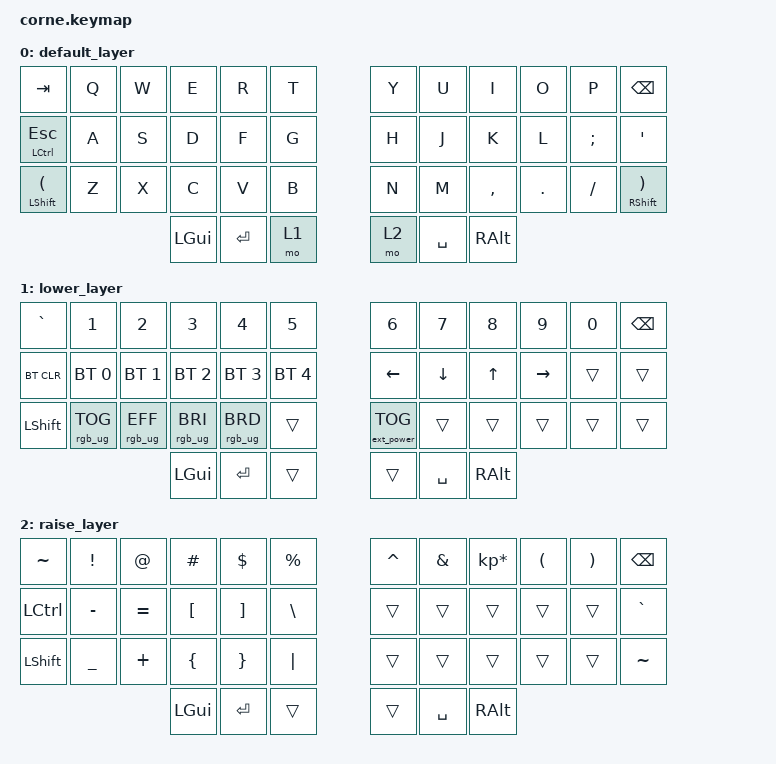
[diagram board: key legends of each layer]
/*
 * Copyright (c) 2020 The ZMK Contributors
 *
 * SPDX-License-Identifier: MIT
 */

#include <behaviors.dtsi>
#include <dt-bindings/zmk/keys.h>
#include <dt-bindings/zmk/bt.h>
#include <dt-bindings/zmk/rgb.h>
#include <dt-bindings/zmk/ext_power.h>

/*
 * Temporarily here because nice nano v2 spi is not defined on ZMk Yet
 * Source: https://raw.githubusercontent.com/zmkfirmware/zmk/main/app/boards/shields/corne/boards/nice_nano.overlay
 * GitHub Issue: https://github.com/zmkfirmware/zmk/issues/885
 */
#include <dt-bindings/led/led.h>

&spi1 {
	compatible = "nordic,nrf-spim";
	/* Cannot be used together with i2c0. */
	status = "okay";
	mosi-pin = <6>;
	// Unused pins, needed for SPI definition, but not used by the ws2812 driver itself.
	sck-pin = <5>;
	miso-pin = <7>;

	led_strip: ws2812@0 {
		compatible = "worldsemi,ws2812-spi";
		label = "SK6812mini";

		/* SPI */
		reg = <0>; /* ignored, but necessary for SPI bindings */
		spi-max-frequency = <4000000>;

		/* WS2812 */
		chain-length = <27>; /* There are per-key RGB, but the first 6 are underglow */
		spi-one-frame = <0x70>;
		spi-zero-frame = <0x40>;

		color-mapping = <LED_COLOR_ID_GREEN LED_COLOR_ID_RED LED_COLOR_ID_BLUE>;
	};
};

/ {
	chosen {
		zmk,underglow = &led_strip;
	};
};

//ZMK_MACRO(my_macro,
//    wait-ms = <30>;
//    tap-ms = <40>;
//    bindings = <&kp Z &kp M &kp K>;
//    )
/ {
        keymap {
                compatible = "zmk,keymap";

                default_layer {
// -----------------------------------------------------------------------------------------
// |  TAB     |  Q  |  W  |  E  |  R  |  T  |   |  Y  |  U   |  I  |  O  |  P  | BKSP |
// | CTL ESC |  A  |  S  |  D  |  F  |  G  |   |  H  |  J   |  K  |  L  |  ;  |  '   |
// | SFT (   |  Z  |  X  |  C  |  V  |  B  |   |  N  |  M   |  ,  |  .  |  /  | SFT ) |
//                        | GUI | ENT | LWR |   | RSE | SPC  | ALT |
                        bindings = <
   &kp TAB   &kp Q &kp W &kp E &kp R &kp T   &kp Y &kp U  &kp I     &kp O   &kp P    &kp BSPC
   &mt LCTRL ESC &kp A &kp S &kp D &kp F &kp G   &kp H &kp J  &kp K     &kp L   &kp SEMI &kp SQT
   &mt LSHFT LPAR &kp Z &kp X &kp C &kp V &kp B   &kp N &kp M  &kp COMMA &kp DOT &kp FSLH &mt RSHFT RPAR
                        &kp LGUI &kp RET &mo 1    &mo 2 &kp SPACE &kp RALT
                        >;
                };
                lower_layer {
// -----------------------------------------------------------------------------------------
// |  `   |  1  |  2  |  3  |  4  |  5  |   |  6  |  7  |  8  |  9  |  0  | BKSP |
// | BTCLR|   BT1   |   BT2   |   BT3  |   BT4   | BT5 |   | LFT        | DWN |  UP | RGT |     |      |
// | SHFT | RGB_TOG | RGB_EFF | RGB_UP | RGB_DWN |     |   | PWR_TOG    |     |     |     |     |      |
//                    | GUI | ENT |    |     | SPC | ALT |
                        bindings = <
   &kp GRAVE    &kp N1       &kp N2       &kp N3       &kp N4       &kp N5         &kp N6   &kp N7   &kp N8 &kp N9    &kp N0 &kp BSPC
   &bt BT_CLR &bt BT_SEL 0    &bt BT_SEL 1    &bt BT_SEL 2    &bt BT_SEL 3    &bt BT_SEL 4      &kp LEFT            &kp DOWN &kp UP &kp RIGHT &trans &trans
   &kp LSHFT  &rgb_ug RGB_TOG &rgb_ug RGB_EFF &rgb_ug RGB_BRI &rgb_ug RGB_BRD &trans            &ext_power EP_TOG   &trans   &trans &trans    &trans &trans

                          	        &kp LGUI   &kp RET  &trans     &trans &kp SPACE   &kp RALT
                        >;
                };

                raise_layer {
// -----------------------------------------------------------------------------------------
// |    ~ |  !  |  @  |  #  |  $  |  %  |   |  ^  |  &  |  *  |  (  |  )  | BKSP |
// | CTRL |  -  |  =  |  [  |  ]  |  \  |   |     |     |     |     |     |  `   |
// | SHFT |  _  |  +  |  {  |  }  | "|" |   |     |     |     |     |     |  ~   |
//                    | GUI |     | SPC |   | ENT |     | ALT |
                        bindings = <
   &kp TILDE  &kp EXCL  &kp AT    &kp HASH &kp DLLR &kp PRCNT   &kp CARET &kp AMPS  &kp KP_MULTIPLY &kp LPAR &kp RPAR &kp BSPC
   &kp LCTRL  &kp MINUS &kp EQUAL &kp LBKT &kp RBKT &kp BSLH    &trans    &trans    &trans          &trans   &trans   &kp GRAVE
   &kp LSHFT  &kp UNDER &kp PLUS  &kp LBRC &kp RBRC &kp PIPE    &trans    &trans    &trans          &trans   &trans   &kp TILDE
                          	      &kp LGUI &kp RET  &trans      &trans    &kp SPACE &kp RALT
                        >;
                };
        };
};
